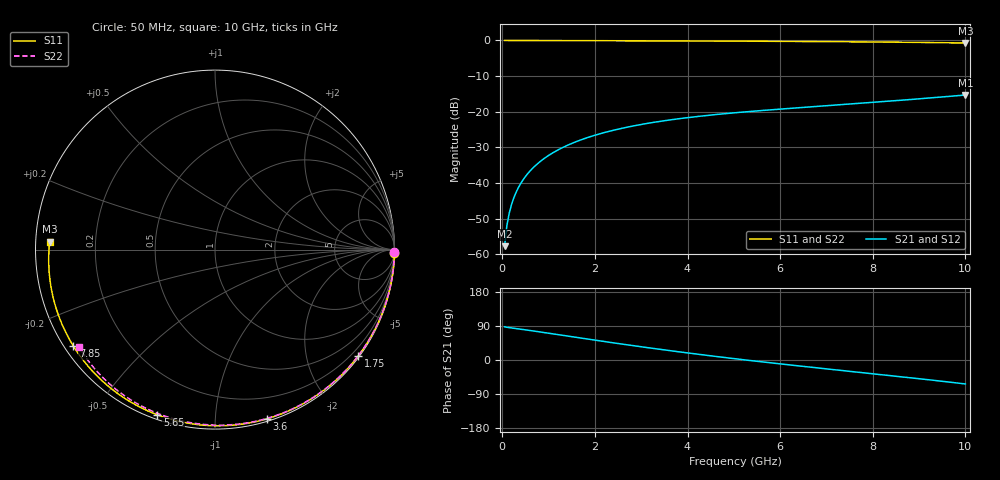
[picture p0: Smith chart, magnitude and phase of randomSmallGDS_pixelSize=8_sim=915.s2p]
! freq	dB(S11)	phase(S11)	dB(S12)	phase(S12)
!  dB(S21)	phase(S21)	dB(S22)	phase(S22)
!S-par simulation data
#  GHz  S  DB  R 50
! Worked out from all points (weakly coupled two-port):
!   200 points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, 50 MHz to 10 GHz, reference 50 ohm
!   highest |S21| = -15.32 dB at 10 GHz (marker M1); lowest = -57.8 dB at 50 MHz (marker M2)
!   lowest |S11| = -0.7 dB at 10 GHz (marker M3), VSWR 24.65, Z = 2.03 + j1.22 ohm
!   |S11| at or under -10 dB: nowhere
!   |S22| runs from -0.6 to 0.0 dB; largest |S21 - S12| = 0
!   S11 on the Smith chart (normalised r, x): 50 MHz: open; 1.75 GHz: 0.03, -3.01; 3.6 GHz: 0.02, -1.35; 5.65 GHz: 0.02, -0.71; 7.85 GHz: 0.03, -0.31; 10 GHz: 0.04, +0.02
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0.05  -0.00 -1.1  -57.75 87.6  -57.75 87.6  -0.00 -0.9
0.1  -0.00 -2.1  -51.90 86.3  -51.90 86.3  -0.00 -1.7
0.15  -0.00 -3.2  -48.48 85.5  -48.48 85.5  -0.00 -2.6
0.2  -0.00 -4.3  -46.04 84.7  -46.04 84.7  -0.00 -3.4
0.25  -0.00 -5.4  -44.14 84.0  -44.14 84.0  -0.00 -4.3
0.35  -0.01 -7.5  -41.26 82.3  -41.26 82.3  -0.00 -6.0
0.5  -0.01 -10.7  -38.20 79.7  -38.20 79.7  -0.01 -8.5
0.7  -0.02 -14.9  -35.31 76.1  -35.31 76.1  -0.01 -11.9
1  -0.03 -21.2  -32.28 70.6  -32.28 70.6  -0.02 -16.9
1.35  -0.04 -28.5  -29.77 64.1  -29.77 64.1  -0.03 -22.8
1.75  -0.05 -36.7  -27.66 56.8  -27.66 56.8  -0.04 -29.4
2.6  -0.08 -53.7  -24.61 41.7  -24.61 41.7  -0.07 -43.1
3.4  -0.11 -69.1  -22.72 28.3  -22.72 28.3  -0.10 -55.6
3.6  -0.12 -72.9  -22.35 25.0  -22.35 25.0  -0.10 -58.7
4.3  -0.15 -85.7  -21.22 14.0  -21.22 14.0  -0.13 -69.2
5.05  -0.19 -99.0  -20.27 2.9  -20.27 2.9  -0.16 -80.0
5.65  -0.22 -109.2  -19.62 -5.5  -19.62 -5.5  -0.19 -88.4
6.7  -0.30 -126.8  -18.61 -19.5  -18.61 -19.5  -0.25 -102.6
7.85  -0.40 -145.7  -17.54 -34.3  -17.54 -34.3  -0.34 -117.5
8.35  -0.46 -154.0  -17.05 -40.7  -17.05 -40.7  -0.39 -123.9
9.2  -0.57 -168.5  -16.18 -52.0  -16.18 -52.0  -0.50 -134.5
10  -0.71 177.2  -15.32 -63.2  -15.32 -63.2  -0.62 -144.5
